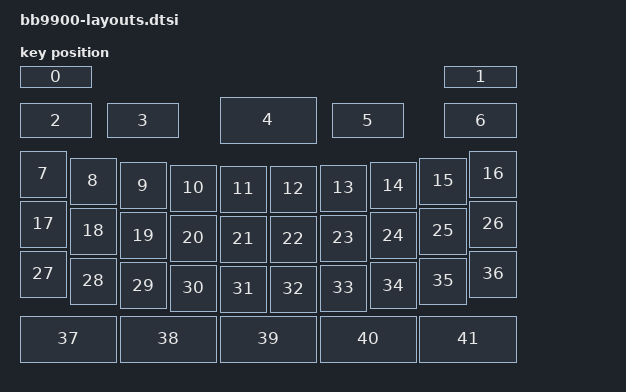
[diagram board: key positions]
/*
 * Copyright (c) 2026 The zmk-bb9900 contributors
 *
 * SPDX-License-Identifier: MIT
 */

#include <physical_layouts.dtsi>

/ {
    // Approximate BB9900 geometry, in 1/100 of a key unit. The letter rows curve up towards the
    // edges like the real "smile" keyboard. Key order follows the matrix transform.
    bb9900_layout: bb9900_layout {
        compatible = "zmk,physical-layout";
        display-name = "BB9900";
        transform = <&default_transform>;

        keys  //                     w   h    x    y     rot    rx    ry
            = <&key_physical_attrs 150  50    0    0       0     0     0>
            , <&key_physical_attrs 150  50  850    0       0     0     0>
            , <&key_physical_attrs 150  75    0   75       0     0     0>
            , <&key_physical_attrs 150  75  175   75       0     0     0>
            , <&key_physical_attrs 200 100  400   62       0     0     0>
            , <&key_physical_attrs 150  75  625   75       0     0     0>
            , <&key_physical_attrs 150  75  850   75       0     0     0>
            , <&key_physical_attrs 100 100    0  170       0     0     0>
            , <&key_physical_attrs 100 100  100  184       0     0     0>
            , <&key_physical_attrs 100 100  200  193       0     0     0>
            , <&key_physical_attrs 100 100  300  198       0     0     0>
            , <&key_physical_attrs 100 100  400  200       0     0     0>
            , <&key_physical_attrs 100 100  500  200       0     0     0>
            , <&key_physical_attrs 100 100  600  198       0     0     0>
            , <&key_physical_attrs 100 100  700  193       0     0     0>
            , <&key_physical_attrs 100 100  800  184       0     0     0>
            , <&key_physical_attrs 100 100  900  170       0     0     0>
            , <&key_physical_attrs 100 100    0  270       0     0     0>
            , <&key_physical_attrs 100 100  100  284       0     0     0>
            , <&key_physical_attrs 100 100  200  293       0     0     0>
            , <&key_physical_attrs 100 100  300  298       0     0     0>
            , <&key_physical_attrs 100 100  400  300       0     0     0>
            , <&key_physical_attrs 100 100  500  300       0     0     0>
            , <&key_physical_attrs 100 100  600  298       0     0     0>
            , <&key_physical_attrs 100 100  700  293       0     0     0>
            , <&key_physical_attrs 100 100  800  284       0     0     0>
            , <&key_physical_attrs 100 100  900  270       0     0     0>
            , <&key_physical_attrs 100 100    0  370       0     0     0>
            , <&key_physical_attrs 100 100  100  384       0     0     0>
            , <&key_physical_attrs 100 100  200  393       0     0     0>
            , <&key_physical_attrs 100 100  300  398       0     0     0>
            , <&key_physical_attrs 100 100  400  400       0     0     0>
            , <&key_physical_attrs 100 100  500  400       0     0     0>
            , <&key_physical_attrs 100 100  600  398       0     0     0>
            , <&key_physical_attrs 100 100  700  393       0     0     0>
            , <&key_physical_attrs 100 100  800  384       0     0     0>
            , <&key_physical_attrs 100 100  900  370       0     0     0>
            , <&key_physical_attrs 200 100    0  500       0     0     0>
            , <&key_physical_attrs 200 100  200  500       0     0     0>
            , <&key_physical_attrs 200 100  400  500       0     0     0>
            , <&key_physical_attrs 200 100  600  500       0     0     0>
            , <&key_physical_attrs 200 100  800  500       0     0     0>
            ;
    };
};
